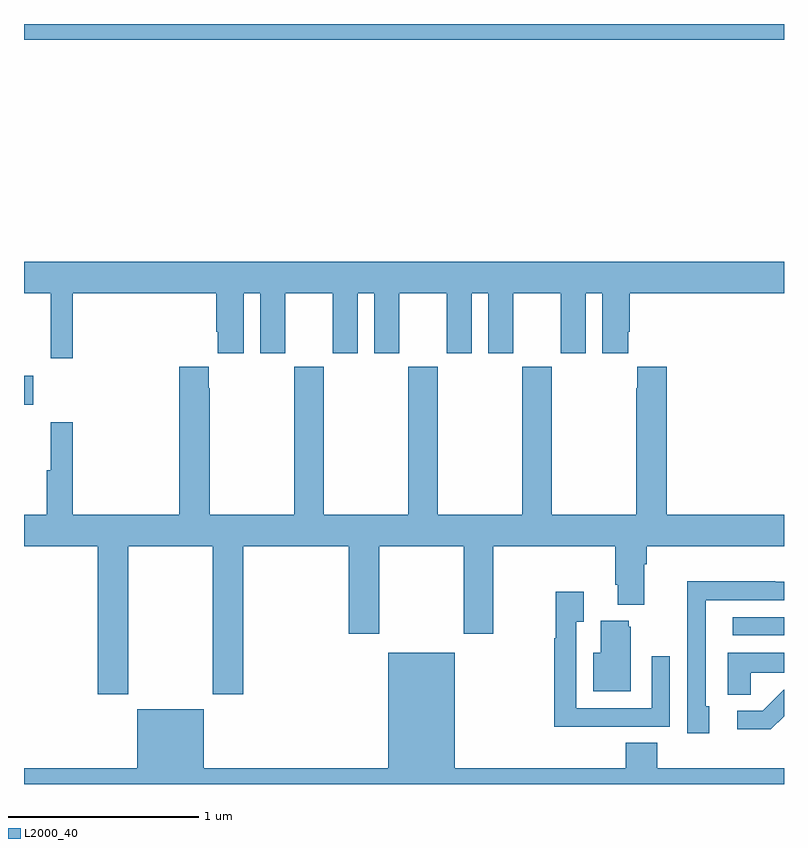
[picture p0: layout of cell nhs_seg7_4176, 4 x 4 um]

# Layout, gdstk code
import gdstk
lib = gdstk.Library(unit=1e-6, precision=1e-09)
def R(c, l, rs):  # rectangles x0, y0, x1, y1
    for r in rs: c.add(gdstk.rectangle(r[:2], r[2:], *l))
def P(c, l, *ps):  # polygons
    for p in ps: c.add(gdstk.Polygon(p, *l))
L2000_40 = (2000, 40)

nhs_seg7_4176 = lib.new_cell('nhs_seg7_4176')
R(nhs_seg7_4176, L2000_40, [(378.729,1030.782,379,1030.878), (375,1031.996,375.049,1032.148), (375,1033.916,379,1034)])
P(nhs_seg7_4176, L2000_40, [(375,1032.584),(375.14,1032.584),(375.14,1032.24),(375.257,1032.24),(375.257,1032.584),(376.013,1032.584),(376.013,1032.379),(376.019,1032.379),(376.019,1032.267),(376.156,1032.267),(376.156,1032.584),(376.244,1032.584),(376.244,1032.267),(376.375,1032.267),(376.375,1032.584),(376.625,1032.584),(376.625,1032.267),(376.756,1032.267),(376.756,1032.584),(376.844,1032.584),(376.844,1032.267),(376.975,1032.267),(376.975,1032.584),(377.225,1032.584),(377.225,1032.267),(377.356,1032.267),(377.356,1032.584),(377.444,1032.584),(377.444,1032.267),(377.575,1032.267),(377.575,1032.584),(377.825,1032.584),(377.825,1032.267),(377.956,1032.267),(377.956,1032.584),(378.044,1032.584),(378.044,1032.267),(378.181,1032.267),(378.181,1032.379),(378.188,1032.379),(378.188,1032.584),(379,1032.584),(379,1032.748),(375,1032.748)],
  [(375.549,1031.252),(375.994,1031.252),(375.994,1030.473),(376.154,1030.473),(376.154,1031.252),(376.709,1031.252),(376.709,1030.791),(376.869,1030.791),(376.869,1031.252),(377.314,1031.252),(377.314,1030.791),(377.469,1030.791),(377.469,1031.252),(378.113,1031.252),(378.113,1031.05),(378.125,1031.05),(378.125,1030.943),(378.265,1030.943),(378.265,1031.156),(378.278,1031.156),(378.278,1031.252),(379,1031.252),(379,1031.416),(378.383,1031.416),(378.383,1032.196),(378.227,1032.196),(378.227,1032.083),(378.223,1032.083),(378.223,1031.416),(377.778,1031.416),(377.778,1032.196),(377.623,1032.196),(377.623,1031.416),(377.178,1031.416),(377.178,1032.196),(377.023,1032.196),(377.023,1031.416),(376.578,1031.416),(376.578,1032.196),(376.423,1032.196),(376.423,1031.416),(375.978,1031.416),(375.978,1032.083),(375.973,1032.083),(375.973,1032.196),(375.818,1032.196),(375.818,1031.416),(375.257,1031.416),(375.257,1031.905),(375.14,1031.905),(375.14,1031.652),(375.121,1031.652),(375.121,1031.416),(375,1031.416),(375,1031.252),(375.389,1031.252),(375.389,1030.473),(375.549,1030.473)],
  [(378.607,1030.41),(378.588,1030.41),(378.588,1030.968),(379,1030.968),(379,1031.064),(378.953,1031.064),(378.953,1031.066),(378.49,1031.066),(378.49,1030.759),(378.492,1030.759),(378.492,1030.266),(378.607,1030.266)],
  [(378.083,1030.302),(378.399,1030.302),(378.399,1030.672),(378.303,1030.672),(378.303,1030.398),(377.907,1030.398),(377.907,1030.855),(377.947,1030.855),(377.947,1031.011),(377.799,1031.011),(377.799,1030.766),(377.791,1030.766),(377.791,1030.301),(378.083,1030.301)],
  [(378.193,1030.827),(378.182,1030.827),(378.182,1030.858),(378.035,1030.858),(378.035,1030.69),(377.996,1030.69),(377.996,1030.487),(378.193,1030.487)],
  [(379,1030.084),(378.332,1030.084),(378.332,1030.217),(378.167,1030.217),(378.167,1030.084),(377.266,1030.084),(377.266,1030.69),(376.916,1030.69),(376.916,1030.084),(375.946,1030.084),(375.946,1030.393),(375.596,1030.393),(375.596,1030.084),(375,1030.084),(375,1030),(379,1030)],
  [(378.825,1030.586),(379,1030.586),(379,1030.69),(378.704,1030.69),(378.704,1030.471),(378.825,1030.471)],
  [(379,1030.357),(379,1030.497),(378.998,1030.497),(378.887,1030.386),(378.753,1030.386),(378.753,1030.289),(378.931,1030.289)])

lib.write_gds('nhs_seg7_4176.gds')
